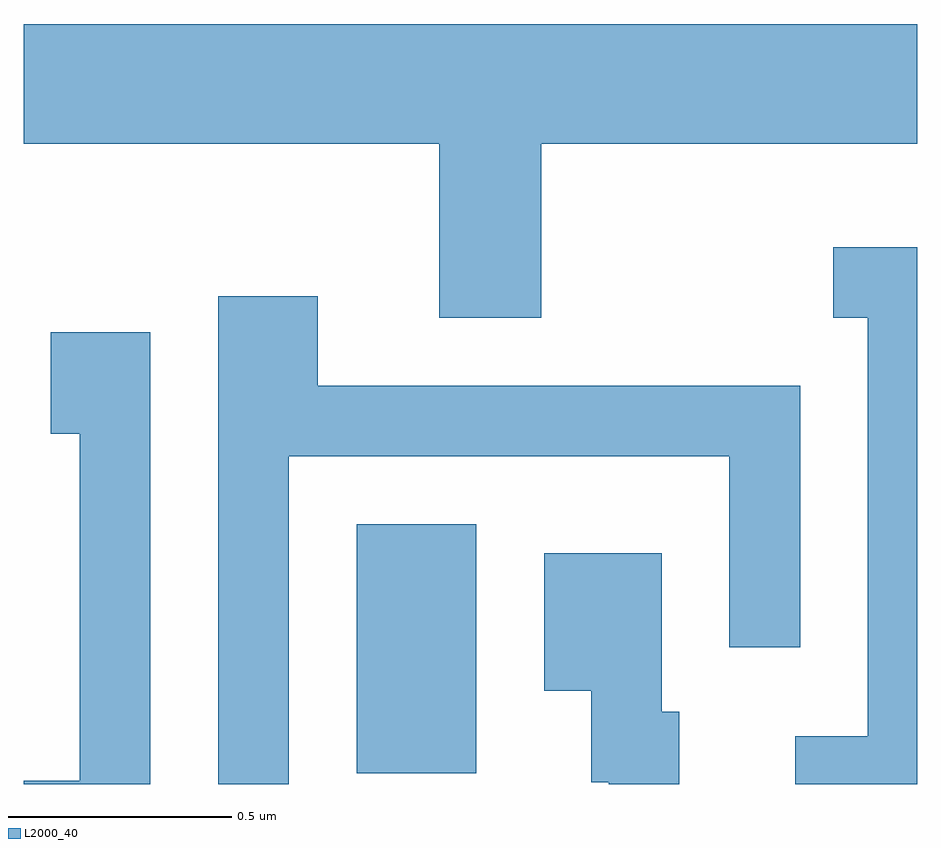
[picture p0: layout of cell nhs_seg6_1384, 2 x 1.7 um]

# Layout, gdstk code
import gdstk
lib = gdstk.Library(unit=1e-6, precision=1e-09)
def R(c, l, rs):  # rectangles x0, y0, x1, y1
    for r in rs: c.add(gdstk.rectangle(r[:2], r[2:], *l))
def P(c, l, *ps):  # polygons
    for p in ps: c.add(gdstk.Polygon(p, *l))
L2000_40 = (2000, 40)

nhs_seg6_1384 = lib.new_cell('nhs_seg6_1384')
R(nhs_seg6_1384, L2000_40, [(196.356,1544.186,196.624,1544.744)])
P(nhs_seg6_1384, L2000_40, [(196.769,1545.596),(197.611,1545.596),(197.611,1545.864),(195.611,1545.864),(195.611,1545.596),(196.541,1545.596),(196.541,1545.206),(196.769,1545.206)],
  [(197.611,1545.364),(197.423,1545.364),(197.423,1545.206),(197.501,1545.206),(197.501,1544.269),(197.338,1544.269),(197.338,1544.162),(197.611,1544.162)],
  [(196.204,1544.896),(197.191,1544.896),(197.191,1544.468),(197.349,1544.468),(197.349,1545.054),(196.269,1545.054),(196.269,1545.254),(196.046,1545.254),(196.046,1544.162),(196.204,1544.162)],
  [(195.894,1545.174),(195.671,1545.174),(195.671,1544.946),(195.736,1544.946),(195.736,1544.169),(195.611,1544.169),(195.611,1544.162),(195.894,1544.162)],
  [(197.079,1544.324),(197.039,1544.324),(197.039,1544.679),(196.776,1544.679),(196.776,1544.371),(196.881,1544.371),(196.881,1544.166),(196.921,1544.166),(196.921,1544.162),(197.079,1544.162)])

lib.write_gds('nhs_seg6_1384.gds')
